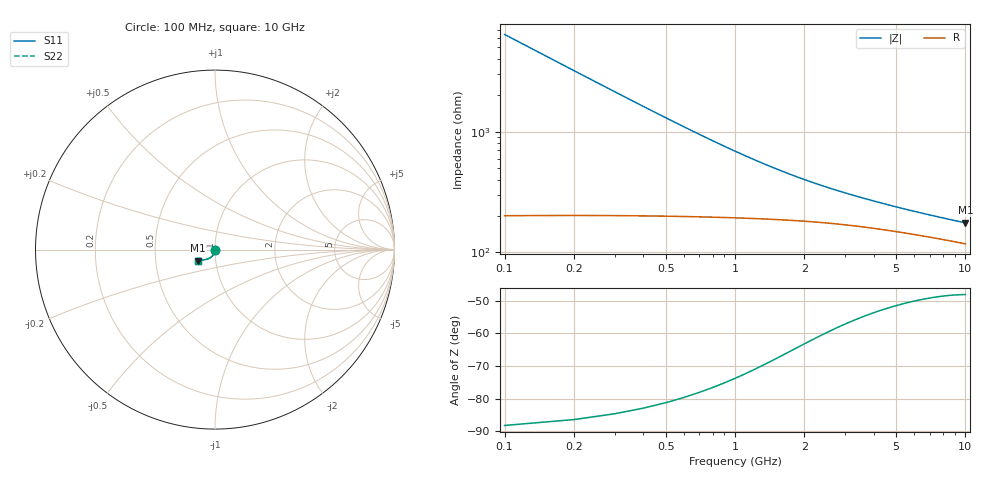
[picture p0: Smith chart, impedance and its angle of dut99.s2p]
! Touchstone file exported from HFSS 2024.1.0
!  File:  C:/UserFiles/LocalFiles/RDL_TSV_Batchsim/temp_TSV1_99_1778752047.aedt
!  Generated:  05:52:05 PM May 14, 2026
!  Design:  TSV1
!  Project:  temp_TSV1_99_1778752047
!  Setup:  Setup1
!  Solution:  Sweep
! Variables:
!  dtsv = 22.05um
!  hbump = 3um
!  htsv = 93.51um
!  lrdl = 252.1521522um
!  p = 40
!  p1 = 55.66um
!  t = 500um
!  trdl = 3um
!  wrdl = 24.89489489um
# GHz S MA R 50.000000
! Terminal data exported
! Port[1] = TSV22_T1
! Port[2] = TSV22_T2
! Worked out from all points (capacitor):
!   100 points, 100 MHz to 10 GHz, reference 50 ohm
!   read as one part in shunt: C = 248 fF near 100 MHz
!   lowest |Z| = 176 ohm at 10 GHz (marker M1)
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0.1  0.003558 -90.9  0.9998 -0.2  0.9998 -0.2  0.003558 -90.9
! Gamma 0 0 0 0
! Port Impedance 50 0 50 0
0.2  0.007099 -93.6  0.9994 -0.5  0.9994 -0.5  0.007099 -93.6
0.3  0.01061 -95.9  0.9987 -0.7  0.9987 -0.7  0.01061 -95.9
0.4  0.01406 -98.0  0.9978 -0.9  0.9978 -0.9  0.01406 -98.0
0.5  0.01745 -100.0  0.9967 -1.2  0.9967 -1.2  0.01745 -100.0
0.6  0.02076 -102.0  0.9955 -1.4  0.9955 -1.4  0.02076 -102.0
0.7  0.02397 -103.9  0.994 -1.6  0.994 -1.6  0.02397 -103.9
0.8  0.02708 -105.7  0.9925 -1.8  0.9925 -1.8  0.02708 -105.7
0.9  0.03007 -107.5  0.9908 -2.0  0.9908 -2.0  0.03007 -107.5
1.1  0.0357 -110.8  0.9873 -2.3  0.9873 -2.3  0.0357 -110.8
1.4  0.04327 -115.2  0.9818 -2.7  0.9818 -2.7  0.04327 -115.2
1.6  0.04775 -117.8  0.9781 -3.0  0.9781 -3.0  0.04775 -117.8
1.8  0.05182 -120.2  0.9745 -3.2  0.9745 -3.2  0.05182 -120.2
2.1  0.05726 -123.3  0.9694 -3.5  0.9694 -3.5  0.05726 -123.3
2.5  0.06347 -126.7  0.9631 -3.8  0.9631 -3.8  0.06347 -126.7
2.9  0.06878 -129.5  0.9575 -4.1  0.9575 -4.1  0.06878 -129.5
3.4  0.07445 -132.4  0.9513 -4.4  0.9513 -4.4  0.07445 -132.4
4.2  0.082 -135.8  0.943 -4.8  0.943 -4.8  0.082 -135.8
5.1  0.08894 -138.7  0.9352 -5.3  0.9352 -5.3  0.08894 -138.7
6.7  0.09862 -142.4  0.9244 -5.9  0.9244 -5.9  0.09862 -142.4
8.4  0.1064 -145.1  0.9158 -6.6  0.9158 -6.6  0.1064 -145.1
10  0.1122 -146.9  0.9096 -7.2  0.9096 -7.2  0.1122 -146.9
